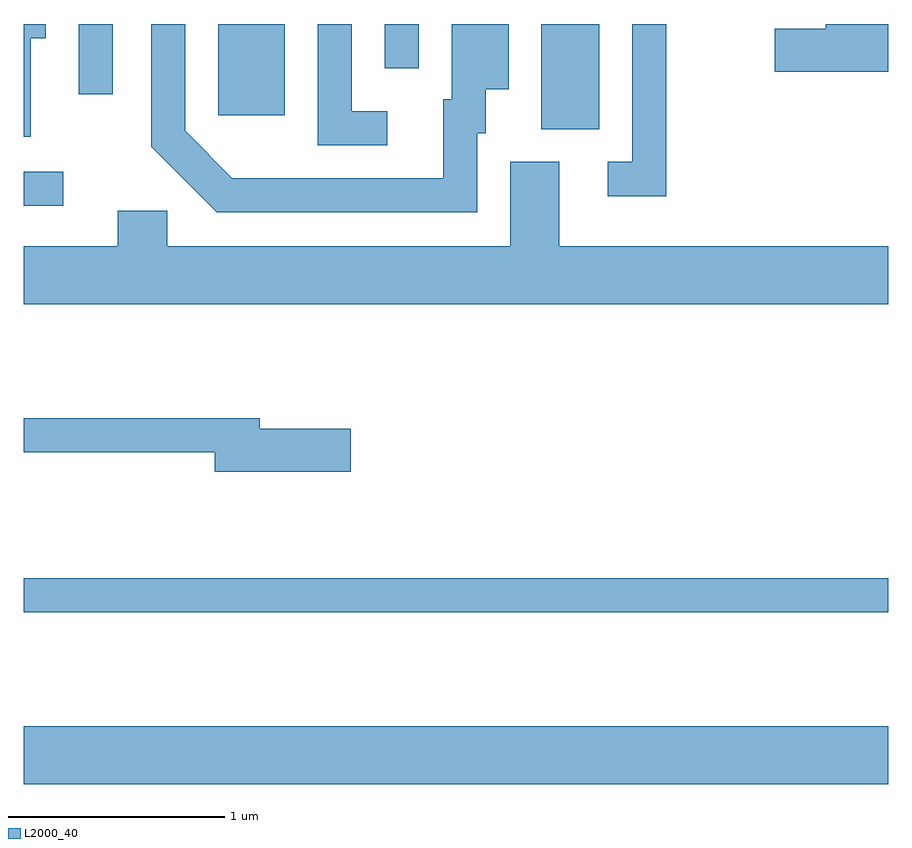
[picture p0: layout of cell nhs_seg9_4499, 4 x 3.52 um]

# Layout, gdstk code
import gdstk
lib = gdstk.Library(unit=1e-6, precision=1e-09)
def R(c, l, rs):  # rectangles x0, y0, x1, y1
    for r in rs: c.add(gdstk.rectangle(r[:2], r[2:], *l))
def P(c, l, *ps):  # polygons
    for p in ps: c.add(gdstk.Polygon(p, *l))
L2000_40 = (2000, 40)

nhs_seg9_4499 = lib.new_cell('nhs_seg9_4499')
R(nhs_seg9_4499, L2000_40, [(317.611,2002.916,321.611,2003.184), (317.611,2003.711,321.611,2003.869), (317.611,2005.591,317.793,2005.749), (320.006,2005.946,320.274,2006.432), (318.511,2006.011,318.819,2006.432), (317.866,2006.108,318.024,2006.432), (319.281,2006.228,319.439,2006.432)])
P(nhs_seg9_4499, L2000_40, [(321.611,2006.432),(321.321,2006.432),(321.321,2006.409),(321.086,2006.409),(321.086,2006.211),(321.611,2006.211)],
  [(320.584,2006.432),(320.426,2006.432),(320.426,2005.794),(320.313,2005.794),(320.313,2005.636),(320.584,2005.636)],
  [(319.293,2006.029),(319.129,2006.029),(319.129,2006.432),(318.971,2006.432),(318.971,2005.871),(319.293,2005.871)],
  [(319.709,2005.926),(319.749,2005.926),(319.749,2006.131),(319.854,2006.131),(319.854,2006.432),(319.591,2006.432),(319.591,2006.084),(319.551,2006.084),(319.551,2005.719),(318.577,2005.719),(318.359,2005.937),(318.359,2006.432),(318.201,2006.432),(318.201,2005.864),(318.504,2005.561),(319.709,2005.561)],
  [(317.644,2006.366),(317.714,2006.366),(317.714,2006.432),(317.611,2006.432),(317.611,2005.911),(317.644,2005.911)],
  [(321.611,2005.404),(320.089,2005.404),(320.089,2005.794),(319.861,2005.794),(319.861,2005.404),(318.274,2005.404),(318.274,2005.569),(318.046,2005.569),(318.046,2005.404),(317.611,2005.404),(317.611,2005.136),(321.611,2005.136)],
  [(319.124,2004.559),(318.704,2004.559),(318.704,2004.609),(317.611,2004.609),(317.611,2004.451),(318.496,2004.451),(318.496,2004.361),(319.124,2004.361)])

lib.write_gds('nhs_seg9_4499.gds')
